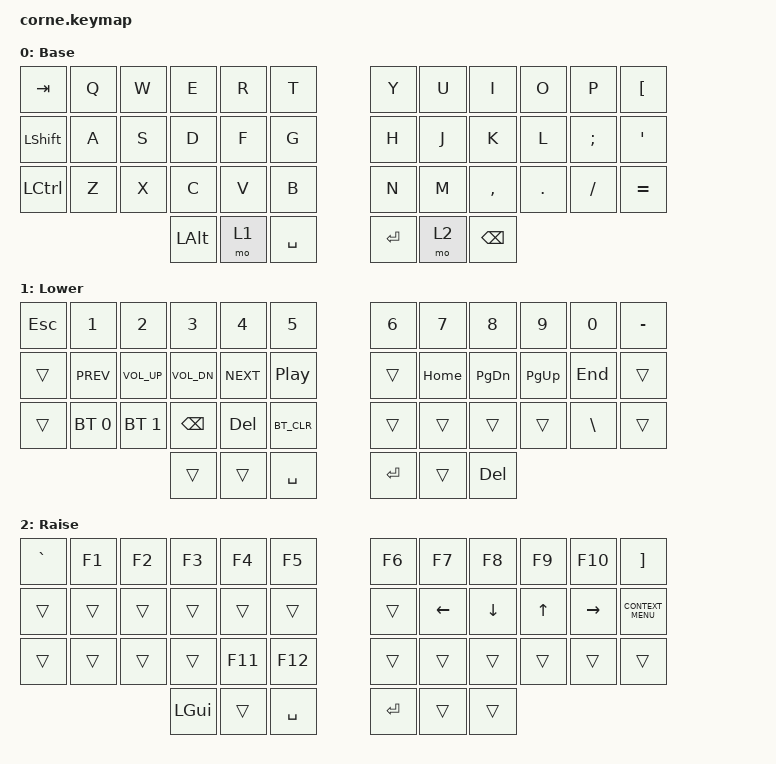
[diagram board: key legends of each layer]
/*
 * Copyright (c) 2020 The ZMK Contributors
 *
 * SPDX-License-Identifier: MIT
 */

#include <behaviors.dtsi>
#include <dt-bindings/zmk/keys.h>
#include <dt-bindings/zmk/bt.h>
#include <dt-bindings/zmk/ext_power.h>

/ {
        keymap {
                compatible = "zmk,keymap";
                default_layer {
// -----------------------------------------------------------------------------------------------------------
// |  TAB  |  Q  |  W  |  E  |  R  |  T  |                   |  Y  |  U  |  I  |  O  |  P  |  [  |
// | SHIFT |  A  |  S  |  D  |  F  |  G  |                   |  H  |  J  |  K  |  L  |  ;  |  '  |
// |  CTRL |  Z  |  X  |  C  |  V  |  B  |                   |  N  |  M  |  ,  |  .  |  /  |  =  |
//                          | ALT  | LOWER |  SPACE  |  | ENTER  | RAISE | BSPC  |
        display-name = "Base";
        bindings = <
            &kp TAB    &kp Q      &kp W      &kp E     &kp R     &kp T                      &kp Y     &kp U      &kp I      &kp O     &kp P      &kp LBKT
            &kp LSHFT  &kp A      &kp S      &kp D     &kp F     &kp G                      &kp H     &kp J      &kp K      &kp L     &kp SEMI   &kp SQT
            &kp LCTRL  &kp Z      &kp X      &kp C     &kp V     &kp B                      &kp N     &kp M      &kp COMMA  &kp DOT   &kp FSLH   &kp EQUAL
                                             &kp LALT  &mo 1     &kp SPACE        &kp RET   &mo 2     &kp BSPC
        >;
    };
                lower_layer {
// -------------------------------------------------------------------------------------------
// |  ESC  |  1   |  2   |  3   |  4   |   5   |  6   |  7   |  8   |  9   |  0  |  -  |
// | SHFT  | prev | Vol^ | Volv | next | pause |      | home | pgdn | pgup | end |     |
// |       |      |      |      |      | BTCLR |      |      |      |      |  \  |     |
//                       | GUI  |      |  SPC  |      | ENT  |      | DEL  |
                        display-name = "Lower";
                        bindings = <
            &kp ESC  &kp N1        &kp N2        &kp N3        &kp N4        &kp N5             &kp N6    &kp N7    &kp N8        &kp N9      &kp N0        &kp MINUS
            &trans   &kp C_PREV    &kp C_VOL_UP  &kp C_VOL_DN  &kp C_NEXT    &kp C_PP           &trans    &kp HOME  &kp PAGE_DOWN &kp PAGE_UP &kp END       &trans
            &trans   &bt BT_SEL 0  &bt BT_SEL 1  &kp BSPC      &kp DEL       &kp BT_CLR         &trans    &trans    &trans        &trans      &kp BACKSLASH &trans
                                                 &trans        &trans        &kp SPACE          &kp RET   &trans    &kp DEL
                        >;
                };
                raise_layer {
// -------------------------------------------------------------------------------------------
// |   `   |  F1  |  F2  |  F3  |  F4  |  F5  |      |  F6  |  F7  |  F8  |  F9  |  F10  |  ]  |
// | SHFT  |      |      |      |      |      |      |      |  <-  |   v  |  ^   |  ->   | ctx |
// | CTRL  |      |      |      | F11  | F12  |      |      |      |      |      |      |
//                       | GUI  |      | SPC  |      | ENT  |      |      |
                        display-name = "Raise";
                        bindings = <
            &kp GRAVE   &kp F1     &kp F2      &kp F3     &kp F4     &kp F5        &kp F6    &kp F7    &kp F8      &kp F9    &kp F10   &kp RBKT
            &trans      &trans     &trans      &trans     &trans     &trans        &trans    &kp LEFT  &kp DOWN    &kp UP    &kp RIGHT &kp K_CONTEXT_MENU
            &trans      &trans     &trans      &trans     &kp F11    &kp F12       &trans    &trans    &trans      &trans    &trans    &trans
                                               &kp LGUI  &trans    &kp SPACE       &kp RET   &trans    &trans
                        >;
                };
        };
};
